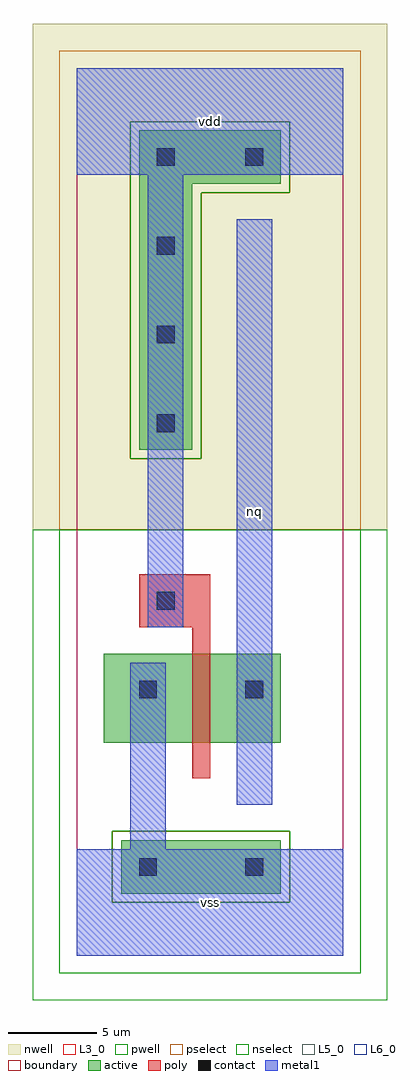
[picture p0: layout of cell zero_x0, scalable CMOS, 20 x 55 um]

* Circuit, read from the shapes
.subckt zero_x0 nq vdd vss
M1 nq vdd vss vss nfet w=5u l=1u
.ends

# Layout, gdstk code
import gdstk
lib = gdstk.Library(unit=1e-6, precision=1e-09)
def R(c, l, rs):  # rectangles x0, y0, x1, y1
    for r in rs: c.add(gdstk.rectangle(r[:2], r[2:], *l))
def A(c, l, x, y, w, h, nx, ny, dx, dy):  # array of equal rectangles
    R(c, l, [(x+i*dx, y+j*dy, x+i*dx+w, y+j*dy+h) for i in range(nx) for j in range(ny)])
L3_0 = (3, 0)
L5_0 = (5, 0)
L6_0 = (6, 0)
contact = (25, 0)
pwell = (41, 0)
nwell = (42, 0)
active = (43, 0)
pselect = (44, 0)
nselect = (45, 0)
poly = (46, 0)
metal1 = (49, 0)
boundary = (63, 0)

zero_x0 = lib.new_cell('zero_x0')
R(zero_x0, L3_0, [(1.5,12,11.5,17)])
R(zero_x0, L5_0, [(3.5,28.5,6.5,43.5), (3.5,43.5,11.5,46.5)])
R(zero_x0, L6_0, [(2.5,3.5,11.5,6.5)])
A(zero_x0, contact, 4.5, 29.5, 1, 1, 1, 4, 0, 5)
R(zero_x0, contact, [(3.5,4.5,4.5,5.5), (9.5,4.5,10.5,5.5), (3.5,14.5,4.5,15.5), (9.5,14.5,10.5,15.5), (4.5,19.5,5.5,20.5), (9.5,44.5,10.5,45.5)])
R(zero_x0, pwell, [(-2.5,-2.5,17.5,24)])
R(zero_x0, nwell, [(-2.5,24,17.5,52.5)])
R(zero_x0, active, [(2.5,3.5,11.5,6.5), (1.5,12,11.5,17), (3.5,28.5,6.5,43.5), (3.5,43.5,11.5,46.5)])
R(zero_x0, pselect, [(2,3,12,7), (-1,24,16,28), (-1,28,3,47), (7,28,16,43), (12,43,16,47), (-1,47,16,51)])
R(zero_x0, nselect, [(-1,-1,16,3), (-1,3,2,7), (12,3,16,7), (-1,7,16,24), (3,28,7,43), (3,43,12,47)])
R(zero_x0, poly, [(6.5,10,7.5,18.5), (3.5,18.5,7.5,21.5)])
R(zero_x0, metal1, [(0,0,15,6), (0,0,15,6), (3,6,5,16.5), (3,6,5,16.5), (9,8.5,11,41.5), (9,8.5,11,41.5), (4,18.5,6,44), (4,18.5,6,44), (0,44,15,50), (0,44,15,50)])
R(zero_x0, boundary, [(0,0,15,50)])
zero_x0.add(gdstk.Label('vss', (7.5,3), layer=49, texttype=0))
zero_x0.add(gdstk.Label('vdd', (7.5,47), layer=49, texttype=0))
zero_x0.add(gdstk.Label('nq', (10,25), layer=49, texttype=0))

lib.write_gds('zero_x0.gds')
